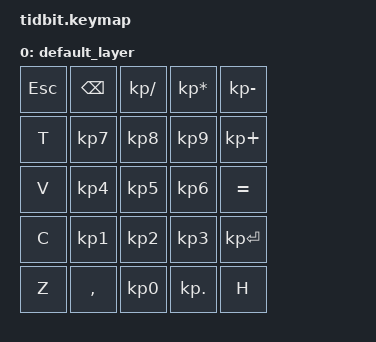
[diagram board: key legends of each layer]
#include <behaviors.dtsi>
#include <dt-bindings/zmk/keys.h>
#include <dt-bindings/zmk/bt.h>
#include <dt-bindings/zmk/outputs.h>

/ {
    keymap {
        compatible = "zmk,keymap";

        default_layer {
            bindings = <
                &kp ESC   &kp BSPC      &kp KP_DIVIDE  &kp KP_MULTIPLY   &kp KP_MINUS
                &kp T     &kp KP_N7     &kp KP_N8      &kp KP_N9         &kp KP_PLUS
                &kp V     &kp KP_N4     &kp KP_N5      &kp KP_N6         &kp EQUAL
                &kp C     &kp KP_N1     &kp KP_N2      &kp KP_N3         &kp KP_ENTER
                &kp Z     &kp COMMA     &kp KP_N0      &kp KP_DOT        &kp H
            >;
        };
    };
};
